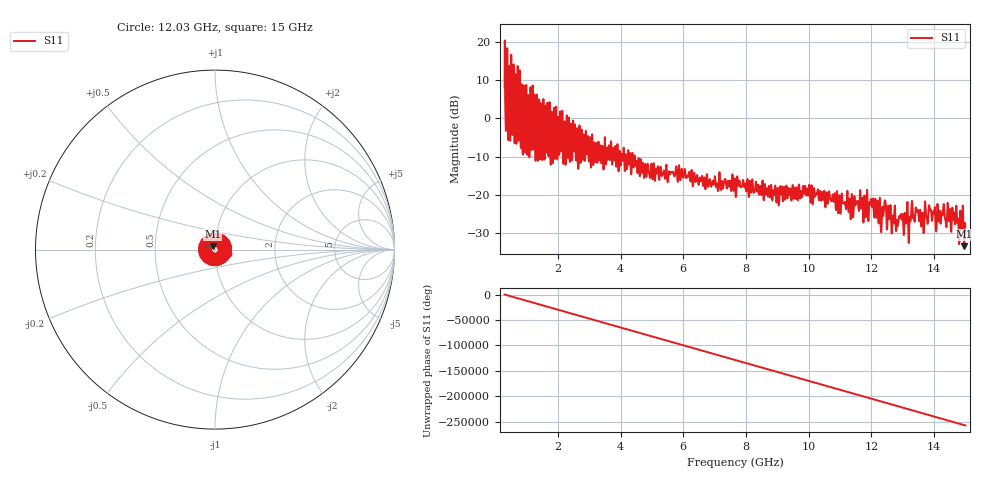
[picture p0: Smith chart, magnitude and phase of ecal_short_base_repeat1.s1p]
# GHZ S RI R 50.0
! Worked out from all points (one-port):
!   12801 points, 300 MHz to 15 GHz, reference 50 ohm
!   lowest |S11| = -33.3 dB at 14.96 GHz (marker M1), VSWR 1.04, Z = 48.7 + j1.7 ohm
!   |S11| at or under -10 dB: 4.312 GHz to 4.367 GHz (55.76 MHz wide, 1.28 % of centre); 4.386 GHz to 4.441 GHz (55.46 MHz wide, 1.26 % of centre); 4.455 GHz to end of sweep (the widest 3 of 43)
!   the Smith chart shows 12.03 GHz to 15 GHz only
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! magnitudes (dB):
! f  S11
! 300 MHz  8.2
! 410.2 MHz  -3.4
! 780 MHz  3.1
! 821.4 MHz  -7.6
! 1.024 GHz  -9.5
! 1.189 GHz  1.7
! 1.43 GHz  -10.7
! 1.67 GHz  0.3
! 1.831 GHz  -11.3
! 2.138 GHz  0.9
! 2.235 GHz  -11.5
! 2.547 GHz  -1.6
! 2.653 GHz  -13.1
! 3.975 GHz  -8.7
! 5.812 GHz  -16.0
! 7.65 GHz  -17.0
! 9.488 GHz  -17.4
! 11.32 GHz  -24.6
! 12 GHz  -21.5
! 12.27 GHz  -21.4
! 12.41 GHz  -23.0
! 12.64 GHz  -29.8
! 13.16 GHz  -24.7
! 13.35 GHz  -25.7
! 13.63 GHz  -24.6
! 14.29 GHz  -23.1
! 14.96 GHz  -33.3
! 15 GHz  -28.0
